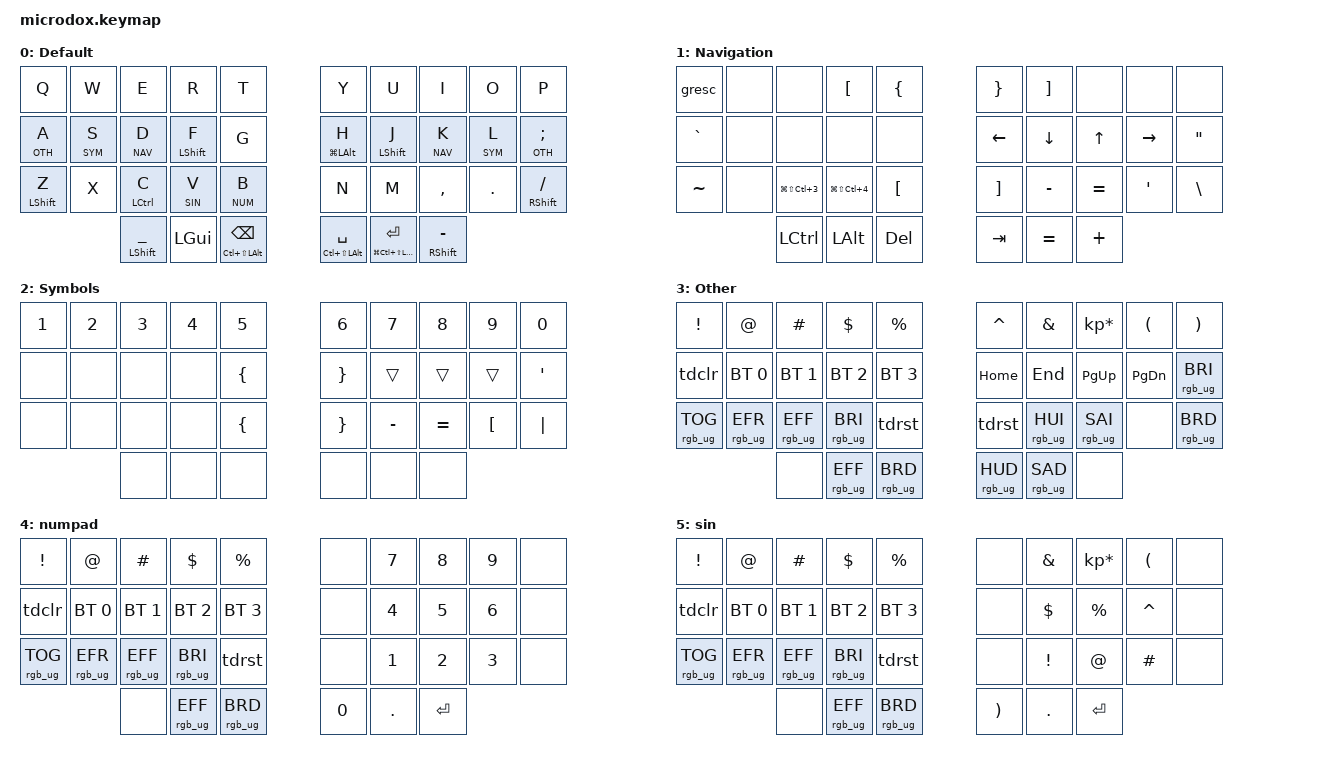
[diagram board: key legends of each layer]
#include <behaviors.dtsi>
#include <dt-bindings/zmk/keys.h>
#include <dt-bindings/zmk/bt.h>
#include <dt-bindings/zmk/outputs.h>
#include <dt-bindings/zmk/rgb.h>

#define DEFAULT 0
#define NAV     1
#define SYM     2
#define OTH     3
#define NUM     4
#define SIN     5

#define TAPPING_TERM 200
#define QUICK_TAP    100

&lt {
	flavor = "tap-preferred";
	tapping-term-ms = <TAPPING_TERM>;
    quick-tap-ms = <QUICK_TAP>;

};

&mt {
	flavor = "tap-preferred";
	tapping-term-ms = <TAPPING_TERM>;
    quick-tap-ms = <QUICK_TAP>;

};

/ {
    behaviors {
        hm: layer_mods {
            compatible = "zmk,behavior-hold-tap";
            label = "LAYER_MODS";
            #binding-cells = <2>;
            tapping-term-ms = <TAPPING_TERM>;
            quick_tap_ms = <QUICK_TAP>;
            flavor = "tap-preferred";
            bindings = <&kp>, <&kp>;
        };
        hs: homerow_shift {
            compatible = "zmk,behavior-hold-tap";
            label = "HOMEROW_SHIFT";
            #binding-cells = <2>;
            tapping-term-ms = <TAPPING_TERM>;
            quick_tap_ms = <QUICK_TAP>;
            flavor = "tap-preferred";
            bindings = <&kp>, <&kp>;
        };
    };
};

/ {
    combos {
        compatible = "zmk,combos";
        combo_undo {
            timeout-ms = <50>;
            key-positions = <20 21>;
            bindings = <&kp LC(Z)>;
        };
        combo_q {
            timeout-ms = <50>;
            key-positions = <21 22>;
            bindings = <&kp Q>;
        };
        combo_semicolon {
            timeout-ms = <50>;
            key-positions = <27 28>;
            bindings = <&kp SEMI>;
        };
    };
};

/ {

    behaviors {
        hm: layer_mods {
            compatible = "zmk,behavior-hold-tap";
            label = "LAYER_MODS";
            #binding-cells = <2>;
            tapping-term-ms = <TAPPING_TERM>;
            quick_tap_ms = <0>;
            flavor = "tap-preferred";
            bindings = <&kp>, <&kp>;
        };
        hs: homerow_shift {
            compatible = "zmk,behavior-hold-tap";
            label = "HOMEROW_SHIFT";
            #binding-cells = <2>;
            tapping-term-ms = <TAPPING_TERM>;
            quick_tap_ms = <0>;
            flavor = "tap-preferred";
            bindings = <&kp>, <&kp>;
        };
        tdclr: tap_dance_0 {
            compatible = "zmk,behavior-tap-dance";
            label = "TAP_DANCE_0";
            #binding-cells = <0>;
            tapping-term-ms = <200>;
            bindings = <&none>, <&bt BT_CLR>;
        };
        tdrst: tap_dance_1 {
            compatible = "zmk,behavior-tap-dance";
            label = "TAP_DANCE_0";
            #binding-cells = <0>;
            tapping-term-ms = <200>;
            bindings = <&none>, <&bootloader>;
        };
    };



    keymap {
        compatible = "zmk,keymap";

        default_layer {
            label = "Default";

            bindings = <
//╭──────────┬──────────┬──────────┬──────────┬──────────╮               ╭──────────┬──────────┬──────────┬──────────┬──────────╮
     &kp Q      &kp W      &kp E      &kp R       &kp T                     &kp Y      &kp U      &kp I      &kp O       &kp P
//├──────────┼──────────┼──────────┼──────────┼──────────┤               ├──────────┼──────────┼──────────┼──────────┼──────────┤
   &lt OTH A  &lt SYM S   &lt NAV D &hs LSHIFT F  &kp G              &mt LG(LALT) H  &hs LSHIFT J &lt NAV K &lt SYM L &lt OTH SEMI
//├──────────┼──────────┼──────────┼──────────┼──────────┤               ├──────────┼──────────┼──────────┼──────────┼──────────┤
&mt LSHIFT Z       &kp X    &mt LCTL C &lt SIN V &lt NUM B            &kp N      &kp M     &kp COMMA   &kp DOT    &mt RSHFT FSLH
//╰──────────┴──────────┼──────────┼──────────┼─────────╯               ╰─────────┼───────────┼──────────┼──────────┼──────────╯
   &mt LSHIFT UNDER      &kp LGUI        &mt LC(LS(LALT)) BSPC        &mt LC(LS(LALT)) SPACE &mt LG(LC(LS(LALT))) ENTER  &mt RSHIFT MINUS
 //            ╰──────────────┴──────────────┴─────────────────╯    ╰─────────────────────┴───────────────┴───────────────╯

            >;
        };

        nav_layer {
            label = "Navigation";

            bindings = <
//╭──────────┬──────────┬──────────┬──────────┬──────────╮               ╭──────────┬──────────┬──────────┬──────────┬──────────╮
    &gresc      &none      &none      &kp LBKT   &kp LBRC                     &kp RBRC   &kp RBKT       &none      &none      &none
//├──────────┼──────────┼──────────┼──────────┼──────────┤               ├──────────┼──────────┼──────────┼──────────┼──────────┤
    &kp GRAVE   &none      &none      &none       &none                    &kp LEFT   &kp DOWN    &kp UP   &kp RIGHT   &kp DQT
//├──────────┼─────────┼───────-───┼──────────┼──────────┤               ├──────────┼──────────┼──────────┼──────────┼──────────┤
   &kp TILDE   &none &kp LG(LS(LC(N3))) &kp LG(LS(LC(N4))) &kp LBKT            &kp RBKT  &kp MINUS  &kp EQUAL   &kp SQT   &kp BSLH
 //╰──────────┴──────────┼──────────┼──────────┼─────────╯               ╰─────────┼───────────┼──────────┼──────────┼──────────╯
                  &kp LCTL        &kp LALT       &kp DELETE                  &kp TAB         &kp EQUAL        &kp PLUS
 //            ╰──────────────┴──────────────┴─────────────────╯    ╰─────────────────────┴───────────────┴───────────────╯
               >;
        };

        sym_layer {
            label = "Symbols";

            bindings = <
//╭──────────┬──────────┬──────────┬──────────┬──────────╮               ╭──────────┬──────────┬──────────┬──────────┬──────────╮
    &kp N1      &kp N2     &kp N3     &kp N4     &kp N5                     &kp N6     &kp N7     &kp N8     &kp N9     &kp N0
//├──────────┼──────────┼──────────┼──────────┼──────────┤               ├──────────┼──────────┼──────────┼──────────┼──────────┤
    &none       &none      &none      &none     &kp LBRC                   &kp RBRC   &trans     &trans     &trans     &kp SQT
//├──────────┼──────────┼──────────┼──────────┼──────────┤               ├──────────┼──────────┼──────────┼──────────┼──────────┤
    &none       &none      &none      &none     &kp LBRC                  &kp RBRC  &kp MINUS  &kp EQUAL   &kp LBKT    &kp PIPE
//╰──────────┴──────────┼──────────┼──────────┼─────────╯               ╰─────────┼───────────┼──────────┼──────────┼──────────╯
                   &none          &none          &none                &none               &none &none
 //            ╰──────────────┴──────────────┴─────────────────╯    ╰─────────────────────┴───────────────┴───────────────╯
                >;
        };
        oth_layer {
            label = "Other";

            bindings = <
//╭──────────┬──────────┬──────────┬──────────┬──────────╮                         ╭──────────┬──────────┬──────────┬──────────┬──────────╮
   &kp EXCL     &kp AT    &kp HASH  &kp DOLLAR &kp PRCNT                            &kp CARET   &kp AMPS &kp KP_MULTIPLY &kp LPAR &kp RPAR
//├──────────┼──────────┼──────────┼──────────┼──────────┤                         ├──────────┼──────────┼──────────┼──────────┼──────────┤
  &tdclr &bt BT_SEL 0 &bt BT_SEL 1 &bt BT_SEL 2 &bt BT_SEL 3                     &kp HOME    &kp END  &kp PG_UP &kp PG_DN &rgb_ug RGB_BRI
//├──────────┼──────────┼──────────┼──────────┼──────────┤                         ├──────────┼──────────┼──────────┼──────────┼──────────┤
 &rgb_ug RGB_TOG &rgb_ug RGB_EFR &rgb_ug RGB_EFF &rgb_ug RGB_BRI &tdrst  &tdrst &rgb_ug RGB_HUI &rgb_ug RGB_SAI  &none &rgb_ug RGB_BRD
 //╰──────────┴──────────┼──────────┼──────────┼─────────╯                         ╰─────────┼───────────┼──────────┼──────────┼──────────╯
                    &none       &rgb_ug RGB_EFF &rgb_ug RGB_BRD                  &rgb_ug RGB_HUD    &rgb_ug RGB_SAD   &none
 //            ╰──────────────┴──────────────┴─────────────────╯              ╰─────────────────────┴───────────────┴───────────────╯
                >;
        };
         numpad_layer {
            label = "numpad";

            bindings = <
//╭──────────┬──────────┬──────────┬──────────┬──────────╮                         ╭──────────┬──────────┬──────────┬──────────┬──────────╮
   &kp EXCL     &kp AT    &kp HASH  &kp DOLLAR &kp PRCNT                           &none   &kp N7     &kp N8     &kp N9        &none  
//├──────────┼──────────┼──────────┼──────────┼──────────┤                         ├──────────┼──────────┼──────────┼──────────┼──────────┤
  &tdclr &bt BT_SEL 0 &bt BT_SEL 1 &bt BT_SEL 2 &bt BT_SEL 3                        &none  &kp N4       &kp N5     &kp N6   &none  
//├──────────┼──────────┼──────────┼──────────┼──────────┤                         ├──────────┼──────────┼──────────┼──────────┼──────────┤
 &rgb_ug RGB_TOG &rgb_ug RGB_EFR &rgb_ug RGB_EFF &rgb_ug RGB_BRI &tdrst            &none   &kp N1       &kp N2     &kp N3  &none 
 //╰──────────┴──────────┼──────────┼──────────┼─────────╯                         ╰─────────┼───────────┼──────────┼──────────┼──────────╯
                    &none       &rgb_ug RGB_EFF &rgb_ug RGB_BRD                  &kp N0     &kp DOT   &kp ENTER
 //            ╰──────────────┴──────────────┴─────────────────╯              ╰─────────────────────┴───────────────┴───────────────╯
                >;
        };
                        sinpad_layer {
            label = "sin";
            bindings = <
//╭──────────┬──────────┬──────────┬──────────┬──────────╮                         ╭──────────┬──────────┬──────────┬──────────┬──────────╮
   &kp EXCL     &kp AT    &kp HASH  &kp DOLLAR &kp PRCNT                           &none   &kp AMPS     &kp KP_MULTIPLY     &kp LPAR        &none 
//├──────────┼──────────┼──────────┼──────────┼──────────┤                         ├──────────┼──────────┼──────────┼──────────┼──────────┤
  &tdclr &bt BT_SEL 0 &bt BT_SEL 1 &bt BT_SEL 2 &bt BT_SEL 3                        &none  &kp DOLLAR       &kp PRCNT   &kp CARET     &none 
//├──────────┼──────────┼──────────┼──────────┼──────────┤                         ├──────────┼──────────┼──────────┼──────────┼──────────┤
 &rgb_ug RGB_TOG &rgb_ug RGB_EFR &rgb_ug RGB_EFF &rgb_ug RGB_BRI &tdrst            &none   &kp EXCL       &kp AT     &kp HASH     &none       
 //╰──────────┴──────────┼──────────┼──────────┼─────────╯                         ╰─────────┼───────────┼──────────┼──────────┼──────────╯
                    &none       &rgb_ug RGB_EFF &rgb_ug RGB_BRD                  &kp RPAR     &kp DOT   &kp ENTER
 //            ╰──────────────┴──────────────┴─────────────────╯              ╰─────────────────────┴───────────────┴───────────────╯
                >;
        };

    };
};
